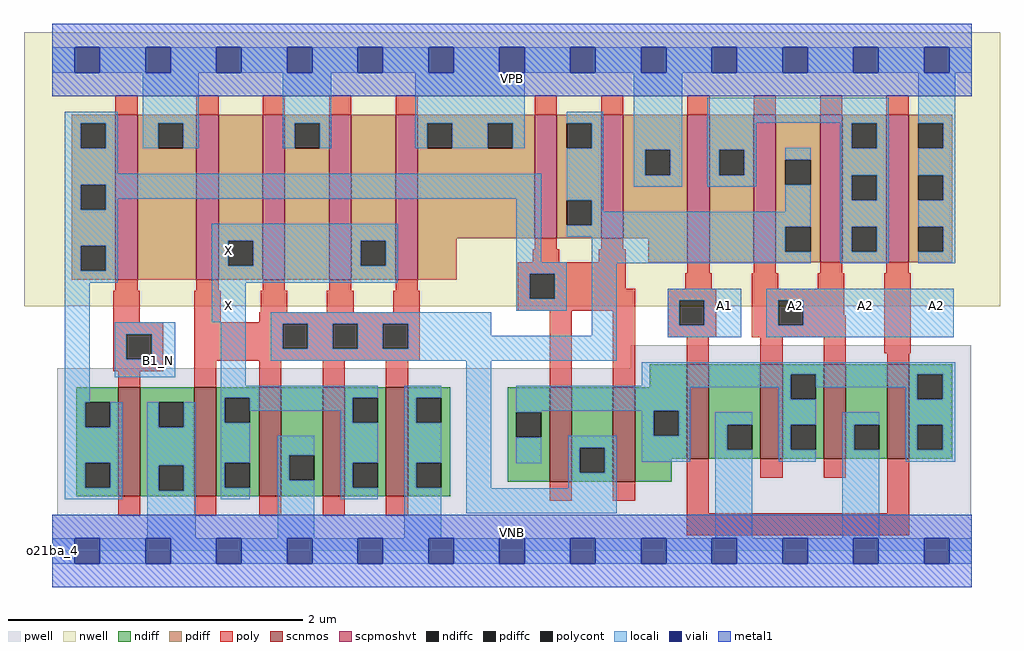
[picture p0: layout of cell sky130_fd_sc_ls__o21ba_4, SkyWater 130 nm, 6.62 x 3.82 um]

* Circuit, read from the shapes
.subckt sky130_fd_sc_ls__o21ba_4 A1 A2 B1_N VGND VNB VPB VPWR X
XM1 VGND B1_N n1 VNB sky130_fd_pr__nfet_01v8 w=0.74 l=0.15
XM2 X n2 VGND VNB sky130_fd_pr__nfet_01v8 w=0.74 l=0.15 m=4
XM3 n2 n1 n3 VNB sky130_fd_pr__nfet_01v8 w=0.64 l=0.15 m=2
XM4 VGND A1 n3 VNB sky130_fd_pr__nfet_01v8 w=0.64 l=0.15 m=2
XM5 n3 A2 VGND VNB sky130_fd_pr__nfet_01v8 w=0.64 l=0.15 m=2
XM6 VPWR B1_N n1 VPB sky130_fd_pr__pfet_01v8_hvt w=1.12 l=0.15
XM7 X n2 VPWR VPB sky130_fd_pr__pfet_01v8_hvt w=1.12 l=0.15 m=4
XM8 n2 n1 VPWR VPB sky130_fd_pr__pfet_01v8_hvt w=0.84 l=0.15 m=2
XM9 n4 A1 VPWR VPB sky130_fd_pr__pfet_01v8_hvt w=1 l=0.15 m=2
XM10 n2 A2 n4 VPB sky130_fd_pr__pfet_01v8_hvt w=1 l=0.15 m=2
.ends

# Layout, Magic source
magic
tech sky130A
magscale 1 2
<< nwell >>
rect -38 332 1286 704
<< pwell >>
rect 785 248 1247 279
rect 7 49 1247 248
rect 0 0 1248 49
<< scnmos >>
rect 90 74 120 222
rect 193 74 223 222
rect 281 74 311 222
rect 367 74 397 222
rect 453 74 483 222
rect 675 94 705 222
rect 761 94 791 222
rect 861 125 891 253
rect 961 125 991 253
rect 1047 125 1077 253
rect 1133 125 1163 253
<< scpmoshvt >>
rect 86 368 116 592
rect 196 368 226 592
rect 286 368 316 592
rect 376 368 406 592
rect 466 368 496 592
rect 655 424 685 592
rect 745 424 775 592
rect 862 392 892 592
rect 952 392 982 592
rect 1042 392 1072 592
rect 1132 392 1162 592
<< ndiff >>
rect 811 222 861 253
rect 33 202 90 222
rect 33 168 45 202
rect 79 168 90 202
rect 33 120 90 168
rect 33 86 45 120
rect 79 86 90 120
rect 33 74 90 86
rect 120 202 193 222
rect 120 168 145 202
rect 179 168 193 202
rect 120 116 193 168
rect 120 82 145 116
rect 179 82 193 116
rect 120 74 193 82
rect 223 208 281 222
rect 223 174 234 208
rect 268 174 281 208
rect 223 120 281 174
rect 223 86 234 120
rect 268 86 281 120
rect 223 74 281 86
rect 311 130 367 222
rect 311 96 322 130
rect 356 96 367 130
rect 311 74 367 96
rect 397 208 453 222
rect 397 174 408 208
rect 442 174 453 208
rect 397 120 453 174
rect 397 86 408 120
rect 442 86 453 120
rect 397 74 453 86
rect 483 208 540 222
rect 483 174 494 208
rect 528 174 540 208
rect 483 120 540 174
rect 483 86 494 120
rect 528 86 540 120
rect 618 188 675 222
rect 618 154 630 188
rect 664 154 675 188
rect 618 94 675 154
rect 705 140 761 222
rect 705 106 716 140
rect 750 106 761 140
rect 705 94 761 106
rect 791 190 861 222
rect 791 156 816 190
rect 850 156 861 190
rect 791 125 861 156
rect 891 171 961 253
rect 891 137 916 171
rect 950 137 961 171
rect 891 125 961 137
rect 991 240 1047 253
rect 991 206 1002 240
rect 1036 206 1047 240
rect 991 171 1047 206
rect 991 137 1002 171
rect 1036 137 1047 171
rect 991 125 1047 137
rect 1077 171 1133 253
rect 1077 137 1088 171
rect 1122 137 1133 171
rect 1077 125 1133 137
rect 1163 240 1221 253
rect 1163 206 1174 240
rect 1208 206 1221 240
rect 1163 171 1221 206
rect 1163 137 1174 171
rect 1208 137 1221 171
rect 1163 125 1221 137
rect 791 94 841 125
rect 483 74 540 86
<< pdiff >>
rect 27 580 86 592
rect 27 546 39 580
rect 73 546 86 580
rect 27 497 86 546
rect 27 463 39 497
rect 73 463 86 497
rect 27 414 86 463
rect 27 380 39 414
rect 73 380 86 414
rect 27 368 86 380
rect 116 580 196 592
rect 116 546 144 580
rect 178 546 196 580
rect 116 368 196 546
rect 226 421 286 592
rect 226 387 239 421
rect 273 387 286 421
rect 226 368 286 387
rect 316 580 376 592
rect 316 546 329 580
rect 363 546 376 580
rect 316 368 376 546
rect 406 421 466 592
rect 406 387 419 421
rect 453 387 466 421
rect 406 368 466 387
rect 496 580 655 592
rect 496 546 509 580
rect 543 546 591 580
rect 625 546 655 580
rect 496 424 655 546
rect 685 580 745 592
rect 685 546 698 580
rect 732 546 745 580
rect 685 476 745 546
rect 685 442 698 476
rect 732 442 745 476
rect 685 424 745 442
rect 775 544 862 592
rect 775 510 805 544
rect 839 510 862 544
rect 775 424 862 510
rect 496 368 549 424
rect 809 392 862 424
rect 892 544 952 592
rect 892 510 905 544
rect 939 510 952 544
rect 892 392 952 510
rect 982 531 1042 592
rect 982 497 995 531
rect 1029 497 1042 531
rect 982 440 1042 497
rect 982 406 995 440
rect 1029 406 1042 440
rect 982 392 1042 406
rect 1072 580 1132 592
rect 1072 546 1085 580
rect 1119 546 1132 580
rect 1072 510 1132 546
rect 1072 476 1085 510
rect 1119 476 1132 510
rect 1072 440 1132 476
rect 1072 406 1085 440
rect 1119 406 1132 440
rect 1072 392 1132 406
rect 1162 580 1221 592
rect 1162 546 1175 580
rect 1209 546 1221 580
rect 1162 510 1221 546
rect 1162 476 1175 510
rect 1209 476 1221 510
rect 1162 440 1221 476
rect 1162 406 1175 440
rect 1209 406 1221 440
rect 1162 392 1221 406
<< ndiffc >>
rect 45 168 79 202
rect 45 86 79 120
rect 145 168 179 202
rect 145 82 179 116
rect 234 174 268 208
rect 234 86 268 120
rect 322 96 356 130
rect 408 174 442 208
rect 408 86 442 120
rect 494 174 528 208
rect 494 86 528 120
rect 630 154 664 188
rect 716 106 750 140
rect 816 156 850 190
rect 916 137 950 171
rect 1002 206 1036 240
rect 1002 137 1036 171
rect 1088 137 1122 171
rect 1174 206 1208 240
rect 1174 137 1208 171
<< pdiffc >>
rect 39 546 73 580
rect 39 463 73 497
rect 39 380 73 414
rect 144 546 178 580
rect 239 387 273 421
rect 329 546 363 580
rect 419 387 453 421
rect 509 546 543 580
rect 591 546 625 580
rect 698 546 732 580
rect 698 442 732 476
rect 805 510 839 544
rect 905 510 939 544
rect 995 497 1029 531
rect 995 406 1029 440
rect 1085 546 1119 580
rect 1085 476 1119 510
rect 1085 406 1119 440
rect 1175 546 1209 580
rect 1175 476 1209 510
rect 1175 406 1209 440
<< poly >>
rect 86 592 116 618
rect 196 592 226 618
rect 286 592 316 618
rect 376 592 406 618
rect 466 592 496 618
rect 655 592 685 618
rect 745 592 775 618
rect 862 592 892 618
rect 952 592 982 618
rect 1042 592 1072 618
rect 1132 592 1162 618
rect 655 409 685 424
rect 745 409 775 424
rect 652 392 688 409
rect 742 392 778 409
rect 632 376 778 392
rect 862 377 892 392
rect 952 377 982 392
rect 1042 377 1072 392
rect 1132 377 1162 392
rect 86 353 116 368
rect 196 353 226 368
rect 286 353 316 368
rect 376 353 406 368
rect 466 353 496 368
rect 83 310 119 353
rect 193 310 229 353
rect 283 324 319 353
rect 373 324 409 353
rect 463 324 499 353
rect 632 342 648 376
rect 682 356 778 376
rect 859 356 895 377
rect 949 356 985 377
rect 1039 356 1075 377
rect 682 342 791 356
rect 632 326 791 342
rect 281 310 499 324
rect 83 294 151 310
rect 83 260 101 294
rect 135 260 151 294
rect 83 244 151 260
rect 193 308 499 310
rect 193 274 313 308
rect 347 274 381 308
rect 415 274 449 308
rect 483 274 499 308
rect 193 258 499 274
rect 90 222 120 244
rect 193 222 223 258
rect 281 222 311 258
rect 367 222 397 258
rect 453 222 483 258
rect 675 222 705 326
rect 761 222 791 326
rect 835 340 901 356
rect 835 306 851 340
rect 885 306 901 340
rect 835 290 901 306
rect 949 340 1075 356
rect 949 306 985 340
rect 1019 320 1075 340
rect 1019 306 1077 320
rect 949 290 1077 306
rect 861 253 891 290
rect 961 253 991 290
rect 1047 253 1077 290
rect 1129 268 1165 377
rect 1133 253 1163 268
rect 90 48 120 74
rect 193 48 223 74
rect 281 48 311 74
rect 367 48 397 74
rect 453 48 483 74
rect 675 68 705 94
rect 761 68 791 94
rect 861 51 891 125
rect 961 99 991 125
rect 1047 99 1077 125
rect 1133 51 1163 125
rect 861 21 1163 51
<< polycont >>
rect 648 342 682 376
rect 101 260 135 294
rect 313 274 347 308
rect 381 274 415 308
rect 449 274 483 308
rect 851 306 885 340
rect 985 306 1019 340
<< locali >>
rect 0 649 31 683
rect 65 649 127 683
rect 161 649 223 683
rect 257 649 319 683
rect 353 649 415 683
rect 449 649 511 683
rect 545 649 607 683
rect 641 649 703 683
rect 737 649 799 683
rect 833 649 895 683
rect 929 649 991 683
rect 1025 649 1087 683
rect 1121 649 1183 683
rect 1217 649 1248 683
rect 17 580 89 596
rect 17 546 39 580
rect 73 546 89 580
rect 123 580 199 649
rect 123 546 144 580
rect 178 546 199 580
rect 313 580 379 649
rect 313 546 329 580
rect 363 546 379 580
rect 493 580 641 649
rect 493 546 509 580
rect 543 546 591 580
rect 625 546 641 580
rect 698 580 748 596
rect 732 546 748 580
rect 17 512 89 546
rect 17 497 664 512
rect 17 463 39 497
rect 73 478 664 497
rect 73 463 89 478
rect 17 414 89 463
rect 17 380 39 414
rect 73 380 89 414
rect 17 364 89 380
rect 217 421 469 444
rect 217 387 239 421
rect 273 387 419 421
rect 453 387 469 421
rect 217 364 469 387
rect 630 392 664 478
rect 698 476 748 546
rect 789 544 855 649
rect 789 510 805 544
rect 839 510 855 544
rect 789 494 855 510
rect 889 581 1135 615
rect 889 544 955 581
rect 1069 580 1135 581
rect 889 510 905 544
rect 939 510 955 544
rect 889 494 955 510
rect 995 531 1029 547
rect 732 460 748 476
rect 995 460 1029 497
rect 732 442 1029 460
rect 698 440 1029 442
rect 698 426 995 440
rect 732 406 995 426
rect 630 376 698 392
rect 17 202 51 364
rect 217 310 263 364
rect 630 342 648 376
rect 682 342 698 376
rect 630 326 698 342
rect 732 390 1029 406
rect 1069 546 1085 580
rect 1119 546 1135 580
rect 1069 510 1135 546
rect 1069 476 1085 510
rect 1119 476 1135 510
rect 1069 440 1135 476
rect 1069 406 1085 440
rect 1119 406 1135 440
rect 1069 390 1135 406
rect 1175 580 1225 649
rect 1209 546 1225 580
rect 1175 510 1225 546
rect 1209 476 1225 510
rect 1175 440 1225 476
rect 1209 406 1225 440
rect 1175 390 1225 406
rect 85 294 167 310
rect 85 260 101 294
rect 135 260 167 294
rect 85 236 167 260
rect 229 224 263 310
rect 297 308 596 324
rect 297 274 313 308
rect 347 274 381 308
rect 415 274 449 308
rect 483 292 596 308
rect 732 292 766 390
rect 483 274 766 292
rect 835 340 935 356
rect 835 306 851 340
rect 885 306 935 340
rect 835 290 935 306
rect 969 340 1223 356
rect 969 306 985 340
rect 1019 306 1223 340
rect 969 290 1223 306
rect 297 258 766 274
rect 229 208 442 224
rect 17 168 45 202
rect 79 168 95 202
rect 17 120 95 168
rect 17 86 45 120
rect 79 86 95 120
rect 17 70 95 86
rect 129 168 145 202
rect 179 168 195 202
rect 129 116 195 168
rect 129 82 145 116
rect 179 82 195 116
rect 129 17 195 82
rect 229 174 234 208
rect 268 190 408 208
rect 229 120 268 174
rect 392 174 408 190
rect 229 86 234 120
rect 229 70 268 86
rect 306 130 356 156
rect 306 96 322 130
rect 306 17 356 96
rect 392 120 442 174
rect 392 86 408 120
rect 392 70 442 86
rect 478 208 528 224
rect 478 174 494 208
rect 478 120 528 174
rect 478 86 494 120
rect 478 17 528 86
rect 562 85 596 258
rect 800 240 1225 256
rect 800 224 1002 240
rect 630 222 1002 224
rect 630 190 866 222
rect 630 188 664 190
rect 800 156 816 190
rect 850 156 866 190
rect 986 206 1002 222
rect 1036 222 1174 240
rect 630 119 664 154
rect 700 140 766 156
rect 700 106 716 140
rect 750 106 766 140
rect 800 121 866 156
rect 900 171 950 188
rect 900 137 916 171
rect 700 85 766 106
rect 562 51 766 85
rect 900 17 950 137
rect 986 171 1036 206
rect 1158 206 1174 222
rect 1208 206 1225 240
rect 986 137 1002 171
rect 986 121 1036 137
rect 1072 171 1122 188
rect 1072 137 1088 171
rect 1072 17 1122 137
rect 1158 171 1225 206
rect 1158 137 1174 171
rect 1208 137 1225 171
rect 1158 121 1225 137
rect 0 -17 31 17
rect 65 -17 127 17
rect 161 -17 223 17
rect 257 -17 319 17
rect 353 -17 415 17
rect 449 -17 511 17
rect 545 -17 607 17
rect 641 -17 703 17
rect 737 -17 799 17
rect 833 -17 895 17
rect 929 -17 991 17
rect 1025 -17 1087 17
rect 1121 -17 1183 17
rect 1217 -17 1248 17
<< viali >>
rect 31 649 65 683
rect 127 649 161 683
rect 223 649 257 683
rect 319 649 353 683
rect 415 649 449 683
rect 511 649 545 683
rect 607 649 641 683
rect 703 649 737 683
rect 799 649 833 683
rect 895 649 929 683
rect 991 649 1025 683
rect 1087 649 1121 683
rect 1183 649 1217 683
rect 31 -17 65 17
rect 127 -17 161 17
rect 223 -17 257 17
rect 319 -17 353 17
rect 415 -17 449 17
rect 511 -17 545 17
rect 607 -17 641 17
rect 703 -17 737 17
rect 799 -17 833 17
rect 895 -17 929 17
rect 991 -17 1025 17
rect 1087 -17 1121 17
rect 1183 -17 1217 17
<< metal1 >>
rect 0 683 1248 715
rect 0 649 31 683
rect 65 649 127 683
rect 161 649 223 683
rect 257 649 319 683
rect 353 649 415 683
rect 449 649 511 683
rect 545 649 607 683
rect 641 649 703 683
rect 737 649 799 683
rect 833 649 895 683
rect 929 649 991 683
rect 1025 649 1087 683
rect 1121 649 1183 683
rect 1217 649 1248 683
rect 0 617 1248 649
rect 0 17 1248 49
rect 0 -17 31 17
rect 65 -17 127 17
rect 161 -17 223 17
rect 257 -17 319 17
rect 353 -17 415 17
rect 449 -17 511 17
rect 545 -17 607 17
rect 641 -17 703 17
rect 737 -17 799 17
rect 833 -17 895 17
rect 929 -17 991 17
rect 1025 -17 1087 17
rect 1121 -17 1183 17
rect 1217 -17 1248 17
rect 0 -49 1248 -17
<< labels >>
rlabel comment s 0 0 0 0 4 o21ba_4
flabel pwell s 0 0 1248 49 0 FreeSans 200 0 0 0 VNB
port 5 nsew ground bidirectional
flabel nwell s 0 617 1248 666 0 FreeSans 200 0 0 0 VPB
port 6 nsew power bidirectional
flabel metal1 s 0 617 1248 666 0 FreeSans 340 0 0 0 VPWR
port 7 nsew power bidirectional abutment
flabel metal1 s 0 0 1248 49 0 FreeSans 340 0 0 0 VGND
port 4 nsew ground bidirectional abutment
flabel locali s 895 316 929 350 0 FreeSans 340 0 0 0 A1
port 1 nsew signal input
flabel locali s 991 316 1025 350 0 FreeSans 340 0 0 0 A2
port 2 nsew signal input
flabel locali s 1087 316 1121 350 0 FreeSans 340 0 0 0 A2
port 2 nsew signal input
flabel locali s 1183 316 1217 350 0 FreeSans 340 0 0 0 A2
port 2 nsew signal input
flabel locali s 127 242 161 276 0 FreeSans 340 0 0 0 B1_N
port 3 nsew signal input
flabel locali s 223 316 257 350 0 FreeSans 340 0 0 0 X
port 8 nsew signal output
flabel locali s 223 390 257 424 0 FreeSans 340 0 0 0 X
port 8 nsew signal output
<< properties >>
string LEFsite unit
string LEFclass CORE
string FIXED_BBOX 0 0 1248 666
string GDS_FILE $PDKPATH/libs.ref/sky130_fd_sc_ls/gds/sky130_fd_sc_ls.gds
string LEFsymmetry X Y
string GDS_END 3506740
string GDS_START 3496754
<< end >>
